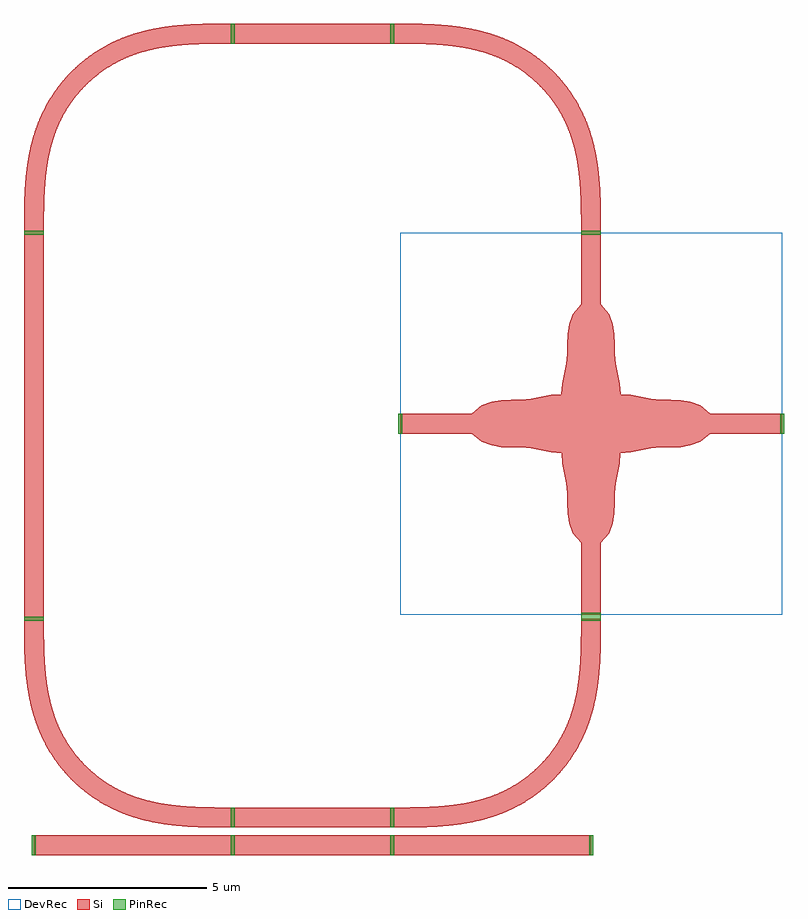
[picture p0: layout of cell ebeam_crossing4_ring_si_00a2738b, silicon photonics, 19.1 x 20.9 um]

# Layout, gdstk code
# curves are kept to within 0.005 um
from math import pi, radians
import gdstk
lib = gdstk.Library(unit=1e-6, precision=1e-09)
def R(c, l, rs):  # rectangles x0, y0, x1, y1
    for r in rs: c.add(gdstk.rectangle(r[:2], r[2:], *l))
def P(c, l, *ps):  # polygons
    for p in ps: c.add(gdstk.Polygon(p, *l))
Si = (1, 0)
PinRec = (1, 10)
DevRec = (68, 0)

bend_euler_6a0699a0 = lib.new_cell('bend_euler_6a0699a0')
P(bend_euler_6a0699a0, Si, [(0.023,-0.25),(0.587,-0.247),(1.086,-0.229),(1.494,-0.195),(1.926,-0.132),(2.286,-0.052),(2.57,0.032),(2.826,0.128),(3.131,0.271),(1.057,0.271),(0.578,0.253),(0,0.25),(0,-0.25)],
  [(3.145,0.278),(3.406,0.429),(3.714,0.647),(3.888,0.792),(4.017,0.912),(4.241,1.15),(3.538,1.15),(3.318,0.974),(3.045,0.794),(2.755,0.642),(2.452,0.52),(2.095,0.415),(1.77,0.348),(1.439,0.302),(1.057,0.271),(3.131,0.271)],
  [(4.257,1.169),(4.429,1.386),(4.571,1.594),(4.662,1.745),(4.801,2.013),(4.891,2.22),(4.976,2.454),(5.046,2.691),(5.108,2.954),(4.596,2.954),(4.527,2.693),(4.45,2.466),(4.358,2.245),(4.206,1.955),(4.064,1.735),(3.891,1.51),(3.73,1.332),(3.538,1.15),(4.241,1.15)],
  [(5.113,2.978),(5.171,3.314),(5.205,3.602),(5.226,3.866),(5.245,4.318),(5.25,5),(4.75,5),(4.744,4.284),(4.719,3.785),(4.666,3.318),(4.596,2.954),(5.108,2.954)])
P(bend_euler_6a0699a0, DevRec, [(0.023,-0.25),(0.587,-0.247),(1.086,-0.229),(1.494,-0.195),(1.926,-0.132),(2.286,-0.052),(2.57,0.032),(2.826,0.128),(3.131,0.271),(1.057,0.271),(0.578,0.253),(0,0.25),(0,-0.25)],
  [(3.145,0.278),(3.406,0.429),(3.714,0.647),(3.888,0.792),(4.017,0.912),(4.241,1.15),(3.538,1.15),(3.318,0.974),(3.045,0.794),(2.755,0.642),(2.452,0.52),(2.095,0.415),(1.77,0.348),(1.439,0.302),(1.057,0.271),(3.131,0.271)],
  [(4.257,1.169),(4.429,1.386),(4.571,1.594),(4.662,1.745),(4.801,2.013),(4.891,2.22),(4.976,2.454),(5.046,2.691),(5.108,2.954),(4.596,2.954),(4.527,2.693),(4.45,2.466),(4.358,2.245),(4.206,1.955),(4.064,1.735),(3.891,1.51),(3.73,1.332),(3.538,1.15),(4.241,1.15)],
  [(5.113,2.978),(5.171,3.314),(5.205,3.602),(5.226,3.866),(5.245,4.318),(5.25,5),(4.75,5),(4.744,4.284),(4.719,3.785),(4.666,3.318),(4.596,2.954),(5.108,2.954)])
bend_euler_6a0699a0.add(gdstk.FlexPath([(0.05,0),(-0.05,0)], 0.5, ends="flush", simple_path=True, layer=1, datatype=10))  # PinRec
bend_euler_6a0699a0.add(gdstk.FlexPath([(5,4.95),(5,5.05)], 0.5, ends="flush", simple_path=True, layer=1, datatype=10))  # PinRec
bend_euler_6a0699a0.add(gdstk.Label('o1', (0,0), layer=1, texttype=10))
bend_euler_6a0699a0.add(gdstk.Label('o2', (5,5), layer=1, texttype=10))

straight_c544e65c = lib.new_cell('straight_c544e65c')
R(straight_c544e65c, Si, [(0,-0.25,5,0.25)])
R(straight_c544e65c, DevRec, [(0,-0.25,5,0.25)])
straight_c544e65c.add(gdstk.FlexPath([(0.05,0),(-0.05,0)], 0.5, ends="flush", simple_path=True, layer=1, datatype=10))  # PinRec
straight_c544e65c.add(gdstk.FlexPath([(4.95,0),(5.05,0)], 0.5, ends="flush", simple_path=True, layer=1, datatype=10))  # PinRec
straight_c544e65c.add(gdstk.Label('o1', (0,0), layer=1, texttype=10))
straight_c544e65c.add(gdstk.Label('o2', (5,0), layer=1, texttype=10))

coupler90_6a0699a0 = lib.new_cell('coupler90_6a0699a0')
coupler90_6a0699a0.add(gdstk.Reference(bend_euler_6a0699a0, (0,0.7)))
coupler90_6a0699a0.add(gdstk.Reference(straight_c544e65c, (0,0)))

straight_320e1e0c = lib.new_cell('straight_320e1e0c')
R(straight_320e1e0c, Si, [(0,-0.25,4,0.25)])
R(straight_320e1e0c, DevRec, [(0,-0.25,4,0.25)])
straight_320e1e0c.add(gdstk.FlexPath([(0.05,0),(-0.05,0)], 0.5, ends="flush", simple_path=True, layer=1, datatype=10))  # PinRec
straight_320e1e0c.add(gdstk.FlexPath([(3.95,0),(4.05,0)], 0.5, ends="flush", simple_path=True, layer=1, datatype=10))  # PinRec
straight_320e1e0c.add(gdstk.Label('o1', (0,0), layer=1, texttype=10))
straight_320e1e0c.add(gdstk.Label('o2', (4,0), layer=1, texttype=10))

coupler_straight_1d6f939 = lib.new_cell('coupler_straight_1d6f9399')
coupler_straight_1d6f939.add(gdstk.Reference(straight_320e1e0c, (0,0.7)))
coupler_straight_1d6f939.add(gdstk.Reference(straight_320e1e0c, (0,0)))

coupler_ring_6edb3c31 = lib.new_cell('coupler_ring_6edb3c31')
coupler_ring_6edb3c31.add(gdstk.Reference(coupler90_6a0699a0, (-4,0), rotation=pi, x_reflection=True))
coupler_ring_6edb3c31.add(gdstk.Reference(coupler90_6a0699a0, (0,0)))
coupler_ring_6edb3c31.add(gdstk.Reference(coupler_straight_1d6f939, (-4,0)))

straight_27ff6d8f = lib.new_cell('straight_27ff6d8f')
R(straight_27ff6d8f, Si, [(0,-0.25,9.7,0.25)])
R(straight_27ff6d8f, DevRec, [(0,-0.25,9.7,0.25)])
straight_27ff6d8f.add(gdstk.FlexPath([(0.05,0),(-0.05,0)], 0.5, ends="flush", simple_path=True, layer=1, datatype=10))  # PinRec
straight_27ff6d8f.add(gdstk.FlexPath([(9.65,0),(9.75,0)], 0.5, ends="flush", simple_path=True, layer=1, datatype=10))  # PinRec
straight_27ff6d8f.add(gdstk.Label('o1', (0,0), layer=1, texttype=10))
straight_27ff6d8f.add(gdstk.Label('o2', (9.7,0), layer=1, texttype=10))

ebeam_crossing4 = lib.new_cell('ebeam_crossing4')
P(ebeam_crossing4, Si, [(-0.25,-4.8),(-0.25,-3),(-0.46,-2.75),(-0.55,-2.5),(-0.59,-2.25),(-0.6,-1.75),(-0.62,-1.5),(-0.72,-1),(-0.75,-0.74),(-1,-0.72),(-1.5,-0.62),(-1.75,-0.6),(-2.25,-0.59),(-2.5,-0.55),(-2.75,-0.46),(-3,-0.25),(-4.8,-0.25),(-4.8,0.25),(-3,0.25),(-2.75,0.46),(-2.5,0.55),(-2.25,0.59),(-1.75,0.6),(-1.5,0.62),(-1,0.72),(-0.75,0.74),(-0.72,1),(-0.62,1.5),(-0.6,1.75),(-0.59,2.25),(-0.55,2.5),(-0.46,2.75),(-0.25,3),(-0.25,4.8),(0.25,4.8),(0.25,3),(0.46,2.75),(0.55,2.5),(0.59,2.25),(0.6,1.75),(0.62,1.5),(0.72,1),(0.74,0.75),(1,0.72),(1.5,0.62),(1.75,0.6),(2.25,0.59),(2.5,0.55),(2.75,0.46),(3,0.25),(4.8,0.25),(4.8,-0.25),(3,-0.25),(2.75,-0.46),(2.5,-0.55),(2.25,-0.59),(1.75,-0.6),(1.5,-0.62),(1,-0.72),(0.74,-0.75),(0.72,-1),(0.62,-1.5),(0.6,-1.75),(0.59,-2.25),(0.55,-2.5),(0.46,-2.75),(0.25,-3),(0.25,-4.8)])
R(ebeam_crossing4, DevRec, [(-4.8,-4.8,4.8,4.8)])
ebeam_crossing4.add(gdstk.FlexPath([(-4.75,0),(-4.85,0)], 0.5, ends="flush", simple_path=True, layer=1, datatype=10))  # PinRec
ebeam_crossing4.add(gdstk.FlexPath([(4.75,0),(4.85,0)], 0.5, ends="flush", simple_path=True, layer=1, datatype=10))  # PinRec
ebeam_crossing4.add(gdstk.FlexPath([(0,-4.75),(0,-4.85)], 0.5, ends="flush", simple_path=True, layer=1, datatype=10))  # PinRec
ebeam_crossing4.add(gdstk.FlexPath([(0,4.75),(0,4.85)], 0.5, ends="flush", simple_path=True, layer=1, datatype=10))  # PinRec
ebeam_crossing4.add(gdstk.Label('Source: Wei Shi', (-4,-3), layer=10, texttype=0))
ebeam_crossing4.add(gdstk.Label('opt4', (4.8,0), layer=1, texttype=10))
ebeam_crossing4.add(gdstk.Label('opt2', (0,4.8), layer=1, texttype=10))
ebeam_crossing4.add(gdstk.Label('opt', (-4.8,0), layer=1, texttype=10))
ebeam_crossing4.add(gdstk.Label('opt3', (0,-4.8), layer=1, texttype=10))
ebeam_crossing4.add(gdstk.Label('Component=ebeam_crossing4', (-4,-1), layer=68, texttype=0))
ebeam_crossing4.add(gdstk.Label('Lumerical_INTERCONNECT_library=Design kits/ebeam', (-4,-4), layer=68, texttype=0))
ebeam_crossing4.add(gdstk.Label('Source: Wei Shi', (-4,-3), layer=10, texttype=0))
ebeam_crossing4.add(gdstk.Label('opt4', (4.8,0), layer=1, texttype=10))
ebeam_crossing4.add(gdstk.Label('opt2', (0,4.8), layer=1, texttype=10))
ebeam_crossing4.add(gdstk.Label('opt', (-4.8,0), layer=1, texttype=10))
ebeam_crossing4.add(gdstk.Label('opt3', (0,-4.8), layer=1, texttype=10))
ebeam_crossing4.add(gdstk.Label('Component=ebeam_crossing4', (-4,-1), layer=68, texttype=0))
ebeam_crossing4.add(gdstk.Label('Lumerical_INTERCONNECT_library=Design kits/ebeam', (-4,-4), layer=68, texttype=0))

straight_9db0a847 = lib.new_cell('straight_9db0a847')
R(straight_9db0a847, Si, [(0,-0.25,4,0.25)])
R(straight_9db0a847, DevRec, [(0,-0.25,4,0.25)])
straight_9db0a847.add(gdstk.FlexPath([(0.05,0),(-0.05,0)], 0.5, ends="flush", simple_path=True, layer=1, datatype=10))  # PinRec
straight_9db0a847.add(gdstk.FlexPath([(3.95,0),(4.05,0)], 0.5, ends="flush", simple_path=True, layer=1, datatype=10))  # PinRec
straight_9db0a847.add(gdstk.Label('o1', (0,0), layer=1, texttype=10))
straight_9db0a847.add(gdstk.Label('o2', (4,0), layer=1, texttype=10))

ebeam_crossing4_ring_si_ = lib.new_cell('ebeam_crossing4_ring_si_00a2738b')
ebeam_crossing4_ring_si_.add(gdstk.Reference(coupler_ring_6edb3c31, (0,0)))
ebeam_crossing4_ring_si_.add(gdstk.Reference(straight_27ff6d8f, (-9,15.4), rotation=3*pi/2))
ebeam_crossing4_ring_si_.add(gdstk.Reference(ebeam_crossing4, (5,10.6), rotation=pi/2))
ebeam_crossing4_ring_si_.add(gdstk.Reference(bend_euler_6a0699a0, (-4,20.4), rotation=pi))
ebeam_crossing4_ring_si_.add(gdstk.Reference(bend_euler_6a0699a0, (5,15.4), rotation=pi/2))
ebeam_crossing4_ring_si_.add(gdstk.Reference(straight_9db0a847, (-4,20.4)))

lib.write_gds('ebeam_crossing4_ring_si_00a2738b.gds')
